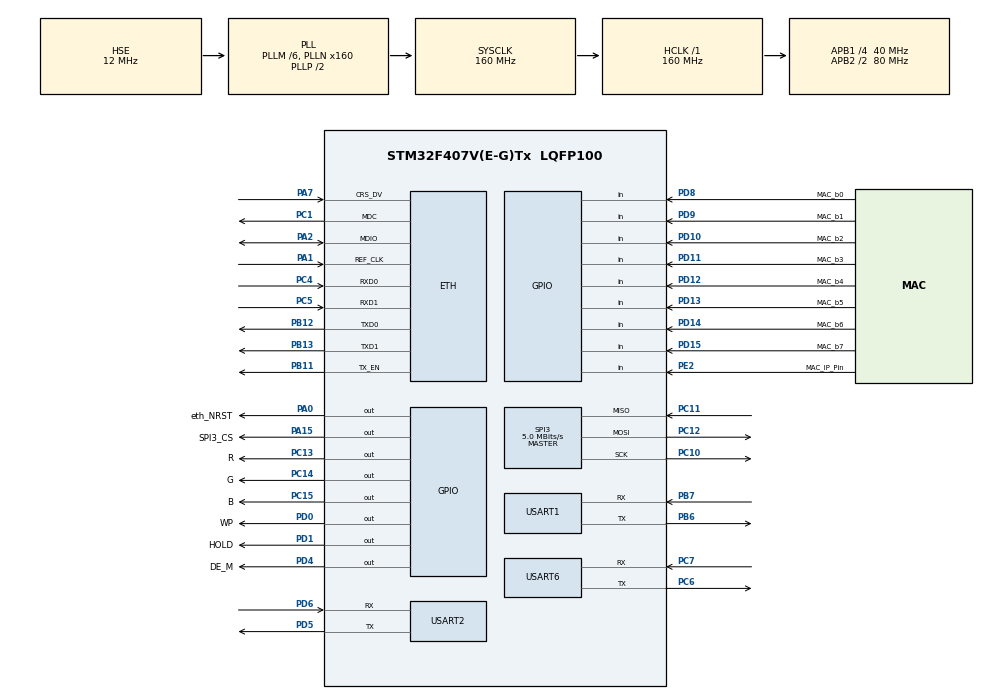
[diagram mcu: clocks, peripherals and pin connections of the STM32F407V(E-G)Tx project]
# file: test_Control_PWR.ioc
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Dma.Request0=USART1_RX
Dma.Request1=USART6_RX
Dma.Request2=USART6_TX
Dma.USART1_RX.0.Direction=DMA_PERIPH_TO_MEMORY
Dma.USART1_RX.0.FIFOMode=DMA_FIFOMODE_DISABLE
Dma.USART1_RX.0.Instance=DMA2_Stream2
Dma.USART1_RX.0.MemDataAlignment=DMA_MDATAALIGN_HALFWORD
Dma.USART1_RX.0.MemInc=DMA_MINC_ENABLE
Dma.USART1_RX.0.Mode=DMA_NORMAL
Dma.USART1_RX.0.PeriphDataAlignment=DMA_PDATAALIGN_HALFWORD
Dma.USART1_RX.0.PeriphInc=DMA_PINC_DISABLE
Dma.USART1_RX.0.Priority=DMA_PRIORITY_LOW
Dma.USART6_RX.1.Direction=DMA_PERIPH_TO_MEMORY
Dma.USART6_RX.1.FIFOMode=DMA_FIFOMODE_DISABLE
Dma.USART6_RX.1.Instance=DMA2_Stream1
Dma.USART6_RX.1.MemDataAlignment=DMA_MDATAALIGN_BYTE
Dma.USART6_RX.1.MemInc=DMA_MINC_ENABLE
Dma.USART6_RX.1.Mode=DMA_CIRCULAR
Dma.USART6_RX.1.PeriphDataAlignment=DMA_PDATAALIGN_BYTE
Dma.USART6_RX.1.PeriphInc=DMA_PINC_DISABLE
Dma.USART6_RX.1.Priority=DMA_PRIORITY_LOW
Dma.USART6_TX.2.Direction=DMA_MEMORY_TO_PERIPH
Dma.USART6_TX.2.FIFOMode=DMA_FIFOMODE_DISABLE
Dma.USART6_TX.2.Instance=DMA2_Stream6
Dma.USART6_TX.2.MemDataAlignment=DMA_MDATAALIGN_BYTE
Dma.USART6_TX.2.MemInc=DMA_MINC_ENABLE
Dma.USART6_TX.2.Mode=DMA_NORMAL
Dma.USART6_TX.2.PeriphDataAlignment=DMA_PDATAALIGN_BYTE
Dma.USART6_TX.2.PeriphInc=DMA_PINC_DISABLE
Dma.USART6_TX.2.Priority=DMA_PRIORITY_LOW
ETH.MACAddr=44\:84\:23\:84\:44\:76
ETH.MediaInterface=HAL_ETH_RMII_MODE
FREERTOS.BinarySemaphores01=ADC_end,Dynamic,NULL;ADC_end2,Dynamic,NULL;Resive_USART,Dynamic,NULL
FREERTOS.Queues01=rxDataUART2,16,uint8_t,0,Dynamic,NULL,NULL
FREERTOS.Tasks01=MainTask,0,256,mainTask,Default,NULL,Dynamic,NULL,NULL;LED,0,128,led,Default,NULL,Dynamic,NULL,NULL;ethTas,0,768,eth_Task,Default,NULL,Dynamic,NULL,NULL;MBRTUTask,0,256,mbrtuTask,Default,NULL,Dynamic,NULL,NULL;MBETHTask,0,512,mbethTask,Default,NULL,Dynamic,NULL,NULL;uart_task,0,1024,uart_Task,Default,NULL,Dynamic,NULL,NULL;loggerTask,0,128,LoggerTask,Default,NULL,Dynamic,NULL,NULL
FREERTOS.configTOTAL_HEAP_SIZE=0x8000
FREERTOS.configUSE_NEWLIB_REENTRANT=1
LWIP.BSP.number=1
LWIP.LWIP_DHCP=0
LWIP.LWIP_DNS=1
LWIP.LWIP_NETIF_EXT_STATUS_CALLBACK=1
LWIP.LWIP_NETIF_STATUS_CALLBACK=1
LWIP.Version=v2.1.2_Cube
LWIP0.BSP.STBoard=false
LWIP0.BSP.api=BSP_COMPONENT_DRIVER
LWIP0.BSP.component=LAN8742
LWIP0.BSP.instance=LAN8742
LWIP0.BSP.name=Driver_PHY
LWIP0.BSP.semaphore=S_LAN8742
LWIP0.BSP.solution=LAN8742
Mcu.Family=STM32F4
Mcu.Name=STM32F407V(E-G)Tx
Mcu.Package=LQFP100
NVIC.DMA2_Stream1_IRQn=true\:5\:0\:false\:false\:true\:true\:false\:true\:true
NVIC.DMA2_Stream2_IRQn=true\:5\:0\:false\:false\:true\:true\:false\:true\:true
NVIC.DMA2_Stream6_IRQn=true\:5\:0\:false\:false\:true\:true\:false\:true\:true
NVIC.ETH_IRQn=true\:5\:0\:false\:false\:true\:true\:false\:true\:true
NVIC.PriorityGroup=NVIC_PRIORITYGROUP_4
NVIC.TIM7_IRQn=true\:15\:0\:false\:false\:true\:false\:false\:true\:true
NVIC.TimeBase=TIM7_IRQn
NVIC.TimeBaseIP=TIM7
NVIC.USART2_IRQn=true\:5\:0\:false\:false\:true\:true\:true\:true\:true
NVIC.USART6_IRQn=true\:5\:0\:false\:false\:true\:true\:true\:true\:true
PA0-WKUP.GPIO_Label=eth_NRST
PA0-WKUP.Signal=GPIO_Output
PA1.Mode=RMII
PA1.Signal=ETH_REF_CLK
PA13.Mode=Serial_Wire
PA13.Signal=SYS_JTMS-SWDIO
PA14.Mode=Serial_Wire
PA14.Signal=SYS_JTCK-SWCLK
PA15.GPIO_Label=SPI3_CS
PA15.Signal=GPIO_Output
PA2.Mode=RMII
PA2.Signal=ETH_MDIO
PA3.Signal=ADCx_IN3
PA4.Signal=ADCx_IN4
PA7.Mode=RMII
PA7.Signal=ETH_CRS_DV
PB11.Mode=RMII
PB11.Signal=ETH_TX_EN
PB12.Mode=RMII
PB12.Signal=ETH_TXD0
PB13.Mode=RMII
PB13.Signal=ETH_TXD1
PB6.Mode=Multiprocessor_communication
PB6.Signal=USART1_TX
PB7.Mode=Multiprocessor_communication
PB7.Signal=USART1_RX
PC1.Mode=RMII
PC1.Signal=ETH_MDC
PC10.Mode=Full_Duplex_Master
PC10.Signal=SPI3_SCK
PC11.Mode=Full_Duplex_Master
PC11.Signal=SPI3_MISO
PC12.Mode=Full_Duplex_Master
PC12.Signal=SPI3_MOSI
PC13-ANTI_TAMP.GPIO_Label=R
PC13-ANTI_TAMP.Signal=GPIO_Output
PC14-OSC32_IN.GPIO_Label=G
PC14-OSC32_IN.Signal=GPIO_Output
PC15-OSC32_OUT.GPIO_Label=B
PC15-OSC32_OUT.Signal=GPIO_Output
PC4.Mode=RMII
PC4.Signal=ETH_RXD0
PC5.Mode=RMII
PC5.Signal=ETH_RXD1
PC6.Mode=Asynchronous
PC6.Signal=USART6_TX
PC7.Mode=Asynchronous
PC7.Signal=USART6_RX
PD0.GPIO_Label=WP
PD0.Signal=GPIO_Output
PD1.GPIO_Label=HOLD
PD1.Signal=GPIO_Output
PD10.GPIO_Label=MAC_b2
PD10.GPIO_PuPd=GPIO_PULLDOWN
PD10.Signal=GPIO_Input
PD11.GPIO_Label=MAC_b3
PD11.GPIO_PuPd=GPIO_PULLDOWN
PD11.Signal=GPIO_Input
PD12.GPIO_Label=MAC_b4
PD12.GPIO_PuPd=GPIO_PULLDOWN
PD12.Signal=GPIO_Input
PD13.GPIO_Label=MAC_b5
PD13.GPIO_PuPd=GPIO_PULLDOWN
PD13.Signal=GPIO_Input
PD14.GPIO_Label=MAC_b6
PD14.GPIO_PuPd=GPIO_PULLDOWN
PD14.Signal=GPIO_Input
PD15.GPIO_Label=MAC_b7
PD15.GPIO_PuPd=GPIO_PULLDOWN
PD15.Signal=GPIO_Input
PD4.GPIO_Label=DE_M
PD4.Signal=GPIO_Output
PD5.Mode=Asynchronous
PD5.Signal=USART2_TX
PD6.Mode=Asynchronous
PD6.Signal=USART2_RX
PD8.GPIO_Label=MAC_b0
PD8.GPIO_PuPd=GPIO_PULLDOWN
PD8.Signal=GPIO_Input
PD9.GPIO_Label=MAC_b1
PD9.GPIO_PuPd=GPIO_PULLDOWN
PD9.Signal=GPIO_Input
PE2.GPIO_Label=MAC_IP_Pin
PE2.GPIO_PuPd=GPIO_PULLDOWN
PE2.Signal=GPIO_Input
PH0-OSC_IN.Mode=HSE-External-Oscillator
PH0-OSC_IN.Signal=RCC_OSC_IN
PH1-OSC_OUT.Mode=HSE-External-Oscillator
PH1-OSC_OUT.Signal=RCC_OSC_OUT
ProjectManager.HeapSize=0x6000
ProjectManager.StackSize=0x4000
ProjectManager.TargetToolchain=STM32CubeIDE
RCC.48MHZClocksFreq_Value=80000000
RCC.AHBFreq_Value=160000000
RCC.APB1CLKDivider=RCC_HCLK_DIV4
RCC.APB1Freq_Value=40000000
RCC.APB1TimFreq_Value=80000000
RCC.APB2CLKDivider=RCC_HCLK_DIV2
RCC.APB2Freq_Value=80000000
RCC.APB2TimFreq_Value=160000000
RCC.CortexFreq_Value=160000000
RCC.EnbaleCSS=true
RCC.HCLKFreq_Value=160000000
RCC.HSE_VALUE=12000000
RCC.HSI_VALUE=16000000
RCC.LSE_VALUE=32768
RCC.PLLM=6
RCC.PLLN=160
RCC.PLLSourceVirtual=RCC_PLLSOURCE_HSE
RCC.RCC_MCO1Source=RCC_MCO1SOURCE_HSE
RCC.RCC_MCODiv1=RCC_MCODIV_4
RCC.SYSCLKFreq_VALUE=160000000
RCC.SYSCLKSource=RCC_SYSCLKSOURCE_PLLCLK
RCC.VCOOutputFreq_Value=320000000
SH.ADCx_IN3.0=ADC1_IN3
SH.ADCx_IN4.0=ADC2_IN4
SPI3.BaudRatePrescaler=SPI_BAUDRATEPRESCALER_8
SPI3.CalculateBaudRate=5.0 MBits/s
SPI3.Direction=SPI_DIRECTION_2LINES
SPI3.Mode=SPI_MODE_MASTER
SPI3.VirtualType=VM_MASTER
USART1.VirtualMode=VM_ASYNC
USART1.WakeUpMethode=UART_WAKEUPMETHOD_ADDRESSMARK
USART1.WordLength=WORDLENGTH_9B
USART2.VirtualMode=VM_ASYNC
USART6.VirtualMode=VM_ASYNC
VP_FREERTOS_VS_CMSIS_V1.Mode=CMSIS_V1
VP_LWIP_VS_Enabled.Mode=Enabled
VP_SYS_VS_tim7.Mode=TIM7
board=custom

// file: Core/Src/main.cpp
/* USER CODE BEGIN Header */
/**
 ******************************************************************************
 * @file           : main.c
 * @brief          : Main program body
 ******************************************************************************
 * @attention
 *
 * Copyright (c) 2022 STMicroelectronics.
 * All rights reserved.
 *
 * This software is licensed under terms that can be found in the LICENSE file
 * in the root directory of this software component.
 * If no LICENSE file comes with this software, it is provided AS-IS.
 *
 ******************************************************************************
 */
/* USER CODE END Header */
#include "main.h"
#include "cmsis_os.h"
#include "dma.h"
#include "lwip.h"
#include "spi.h"
#include "usart.h"
#include "gpio.h"

/* USER CODE BEGIN Includes */
//#include "flash_spi.h"
#include "Delay_us_DWT.h"
#include "LED.h"
#include "flash_spi.h"

#include "cmsis_os.h"
/* USER CODE END Includes */

/* USER CODE BEGIN PTD */
// Размещение метаданных по фиксированному адресу с помощью атрибута section
__attribute__((section(".metadata")))
const meta_t firmware_metadata = {
    .key_start = METADATA_KEY,
    .version = FIRMWARE_VERSION,
    .name_proj = FIRMWARE_NAME,
    .reserved = 0
};
/* USER CODE END PTD */

/* USER CODE BEGIN PV */
uint8_t ucHeap[ configTOTAL_HEAP_SIZE ] __attribute__((section(".ccmram"))) = {0};

chName_t NameCH[MAX_CH_NAME];

uint32_t count_tic = 0; //для замеров времени выполнения кода

led LED_IPadr;
led LED_error;
led LED_OSstart;

flash mem_spi;
//for i2c
//g_stat_t I2C_net[45];

bool resetSettings = false;
timing_info_t mb_timing;

// for SPI Flash
pins_spi_t ChipSelect = { SPI3_CS_GPIO_Port, SPI3_CS_Pin };
pins_spi_t WriteProtect = { WP_GPIO_Port, WP_Pin };
pins_spi_t Hold = { HOLD_GPIO_Port, HOLD_Pin };

settings_t settings = { 0, 0x0E };

// Глобальный экземпляр логгера
UartLogger_t logger;

// Локальный буфер для DMA передачи
char txBuffer[MAX_MESSAGE_SIZE];
// Пул сообщений и буфер для него
LogMessage_t messagePool[QUEUE_SIZE];
uint8_t messagePoolUsed[QUEUE_SIZE];
osMutexId poolMutexHandle;

uint8_t message_rx[message_RX_LENGTH];
uint8_t UART_debug_rx[UART6_RX_LENGTH];
uint16_t indx_message_rx = 0;
uint16_t indx_UART2_rx = 0;
uint16_t Size_message = 0;
uint16_t Start_index = 0;
extern osMessageQId rxDataUART2Handle;

// обмен данными с другими платами
bool rx_end = 1;

//TCP for ModBUS
extern uint8_t         rtu_data[256];
extern uint8_t 		response[260];
extern uint8_t 		Modbut_to_TCP[260];
extern uint16_t		SizeInModBus;
extern struct netconn 	connectionForModBUS , newconnectionForModBUS;
extern struct netconn 	*connMB, *newconnMB; //contains info about connection inc. type, port, buf pointers etc.

extern osSemaphoreId Resive_USARTHandle;
/* USER CODE END PV */

void SystemClock_Config(void);
void MX_FREERTOS_Init(void);
/* USER CODE BEGIN PFP */
uint8_t ReadStraps();
void finishedBlink();
void timoutBlink();

/* USER CODE END PFP */

/* USER CODE BEGIN 0 */
//uint8_t ucHeap[ configTOTAL_HEAP_SIZE] __attribute__((section(".ccmram")));

/* USER CODE END 0 */

int main(void)
{

  /* USER CODE BEGIN 1 */
	/* Настройка вектора прерываний на адрес приложения */
	SCB->VTOR = FLASH_BASE | 0x10000; /* 0x08010000 */
	__enable_irq();
  /* USER CODE END 1 */

  /* MCU Configuration--------------------------------------------------------*/

  /* Reset of all peripherals, Initializes the Flash interface and the Systick. */
  HAL_Init();

  /* Configure the system clock */
  SystemClock_Config();

  /* Initialize all configured peripherals */
  MX_GPIO_Init();
  MX_DMA_Init();
  MX_SPI3_Init();
  MX_USART1_UART_Init();
  MX_USART2_UART_Init();
  MX_USART6_UART_Init();
  /* USER CODE BEGIN 2 */

	mem_spi.Init(&hspi3, 0, ChipSelect, WriteProtect, Hold, false);
	//HAL_Delay(100);
	mem_spi.Read(&settings);

	HAL_GPIO_WritePin(R_GPIO_Port, R_Pin, GPIO_PIN_SET); // PC15 VD4
	HAL_GPIO_WritePin(B_GPIO_Port, B_Pin, GPIO_PIN_SET); // PC13 VD2
	HAL_GPIO_WritePin(G_GPIO_Port, G_Pin, GPIO_PIN_SET); // PC14 VD3

	uint8_t endMAC = 0, IP = 100;
	// работаем с настройками из флешки
	HAL_GPIO_WritePin(eth_NRST_GPIO_Port, eth_NRST_Pin, GPIO_PIN_SET);

	//HAL_GPIO_WritePin(HOLD_GPIO_Port, HOLD_Pin, GPIO_PIN_SET);
	//HAL_GPIO_WritePin(WP_GPIO_Port, WP_Pin, GPIO_PIN_SET);

	//mem_spi.Init(&hspi3, 0, ChipSelect, WriteProtect, Hold, false);
	//mem_spi.Read(&settings);

	// если установлен джампер set
	// заходим в режим настройки
	bool StartSettings = false;
	/*
	for (int var = 0; var < 5; ++var) {

		if (HAL_GPIO_ReadPin(MAC_IP_Pin_GPIO_Port, MAC_IP_Pin_Pin)) {
			StartSettings = true;
		} else {
			StartSettings = false;
			break;
		}

		HAL_Delay(30);
	}*/

	//режим настройки
	if (StartSettings) {
		StartSettings = false;
		HAL_GPIO_WritePin(G_GPIO_Port, G_Pin, GPIO_PIN_RESET); // PC14 VD3

		endMAC = ReadStraps();
		HAL_Delay(300);
		HAL_GPIO_WritePin(R_GPIO_Port, R_Pin, GPIO_PIN_RESET); // PC13 VD2

		// ждем снятия джампера или таймаута
		int time;
		bool Settings;
		for (time = 0; time < 600; ++time) {

			if (HAL_GPIO_ReadPin(MAC_IP_Pin_GPIO_Port, MAC_IP_Pin_Pin)) {
				Settings = true;
			} else {
				Settings = false;
				break;
			}

			HAL_Delay(100);
		}

		if (!Settings) { // if pin settings is 0
			IP = ReadStraps();
			HAL_Delay(300);
			HAL_GPIO_WritePin(B_GPIO_Port, B_Pin, GPIO_PIN_RESET); // PC15 VD4

			if ((settings.version != 0) | (settings.version != 0xFF)) { // если считанные настройки не пусты то перезаписываем только изменения

			    bool settingsChanged = false;

			    if (endMAC != 0xFF) {
			        settings.MAC[5] = endMAC;
			        settingsChanged = true;
			    }

			    if (IP != 0xFF) {
			        settings.saveIP.ip[3] = IP;
			        settingsChanged = true;
			    }

			    if (settingsChanged) {
			    	mem_spi.Write(settings);
			        STM_LOG(LOG_OK " Новые MAC/IP сохранены");

			    }

				finishedBlink();

				// and reset system
				HAL_Delay(500);
				NVIC_SystemReset();
			} else {
				resetSettings = true; // else reset all settings
			}
		} else {

			timoutBlink();
			// and reset system
			HAL_Delay(1000);
			NVIC_SystemReset();
		}

	}

	if ((settings.version == 0) | (settings.version == 0xFF) | resetSettings) {
		STM_LOG("Reset settings");

		settings.isON_from_settings = false;
		settings.IP_end_from_settings = 1;

		settings.DHCPset = true;
		settings.devices_depth = 0;

		settings.saveIP.ip[0] = 192;
		settings.saveIP.ip[1] = 168;
		settings.saveIP.ip[2] = 1;
		settings.saveIP.ip[3] = IP;

		settings.saveIP.mask[0] = 255;
		settings.saveIP.mask[1] = 255;
		settings.saveIP.mask[2] = 255;
		settings.saveIP.mask[3] = 0;

		settings.saveIP.gateway[0] = 192;
		settings.saveIP.gateway[1] = 168;
		settings.saveIP.gateway[2] = 1;
		settings.saveIP.gateway[3] = 1;

		settings.MAC[0] = 0x44;
		settings.MAC[1] = 0x84;
		settings.MAC[2] = 0x23;
		settings.MAC[3] = 0x84;
		settings.MAC[4] = 0x44;
		settings.MAC[5] = endMAC;

		settings.version = CURENT_VERSION;

		mem_spi.Write(settings);
		mem_spi.Read(&settings);
		finishedBlink();
	}

	// настройка первоночального состояния канналов
	if (settings.isON_from_settings) { // если состояние нужно взять из настроек
		// ничего не делаем состояния уже загруженны
	} else {

		//иначе выключаем все канналы

	}

	// reset link
	for (int var = 0; var <= MAX_CH_NAME; ++var) {
		NameCH[var].dev = NULL;
		NameCH[var].Channel_number = 0xff;
	}

	// linking the channel name with the device and channel number
	for (int var = 0; var <= MAX_ADR_DEV; ++var) {
		// check device address
		if ((settings.devices[var].Addr >= START_ADR_I2C)
				&& (settings.devices[var].Addr <= (START_ADR_I2C + MAX_ADR_DEV))) {
			for (int i = 0; i < 3; ++i) {
				NameCH[settings.devices[var].ch[i].Name_ch].dev =
						&settings.devices[var];
				NameCH[settings.devices[var].ch[i].Name_ch].Channel_number = i;
			}
		}
	}

	mem_spi.SetUsedInOS(true); // switch to use in OS
  /* USER CODE END 2 */

  /* Call init function for freertos objects (in cmsis_os2.c) */
  MX_FREERTOS_Init();

  /* Start scheduler */
  osKernelStart();

  /* We should never get here as control is now taken by the scheduler */

  /* Infinite loop */
	while (1) {

	}
}

void SystemClock_Config(void)
{
  RCC_OscInitTypeDef RCC_OscInitStruct = {0};
  RCC_ClkInitTypeDef RCC_ClkInitStruct = {0};

  /** Configure the main internal regulator output voltage
  */
  __HAL_RCC_PWR_CLK_ENABLE();
  __HAL_PWR_VOLTAGESCALING_CONFIG(PWR_REGULATOR_VOLTAGE_SCALE1);

  /** Initializes the RCC Oscillators according to the specified parameters
  * in the RCC_OscInitTypeDef structure.
  */
  RCC_OscInitStruct.OscillatorType = RCC_OSCILLATORTYPE_HSE;
  RCC_OscInitStruct.HSEState = RCC_HSE_ON;
  RCC_OscInitStruct.PLL.PLLState = RCC_PLL_ON;
  RCC_OscInitStruct.PLL.PLLSource = RCC_PLLSOURCE_HSE;
  RCC_OscInitStruct.PLL.PLLM = 6;
  RCC_OscInitStruct.PLL.PLLN = 160;
  RCC_OscInitStruct.PLL.PLLP = RCC_PLLP_DIV2;
  RCC_OscInitStruct.PLL.PLLQ = 4;
  if (HAL_RCC_OscConfig(&RCC_OscInitStruct) != HAL_OK)
  {
    Error_Handler();
  }

  /** Initializes the CPU, AHB and APB buses clocks
  */
  RCC_ClkInitStruct.ClockType = RCC_CLOCKTYPE_HCLK|RCC_CLOCKTYPE_SYSCLK
                              |RCC_CLOCKTYPE_PCLK1|RCC_CLOCKTYPE_PCLK2;
  RCC_ClkInitStruct.SYSCLKSource = RCC_SYSCLKSOURCE_PLLCLK;
  RCC_ClkInitStruct.AHBCLKDivider = RCC_SYSCLK_DIV1;
  RCC_ClkInitStruct.APB1CLKDivider = RCC_HCLK_DIV4;
  RCC_ClkInitStruct.APB2CLKDivider = RCC_HCLK_DIV2;

  if (HAL_RCC_ClockConfig(&RCC_ClkInitStruct, FLASH_LATENCY_5) != HAL_OK)
  {
    Error_Handler();
  }

  /** Enables the Clock Security System
  */
  HAL_RCC_EnableCSS();
}

/* USER CODE BEGIN 4 */

/*
// Инициализация логгера
void Logger_Init(UART_HandleTypeDef* huart) {
    // Сохраняем указатель на UART
    logger.huart = huart;
    logger.isTransmitting = 0;
    logger.txBuffer = txBuffer;
    logger.started = 1;

    // Очищаем пул сообщений
    memset(messagePoolUsed, 0, sizeof(messagePoolUsed));

    // Создаем мьютекс для пула
    osMutexDef(poolMutex);
    poolMutexHandle = osMutexCreate(osMutex(poolMutex));

    // Создаем очередь сообщений (теперь храним только индексы)
    osMessageQDef(logQueue, QUEUE_SIZE, uint32_t);
    logger.messageQueue = osMessageCreate(osMessageQ(logQueue), NULL);
}

// Обработка сообщений и отправка через UART
void Logger_Process(void) {
    if (!logger.isTransmitting) {
        osEvent event = osMessageGet(logger.messageQueue, 0); // Неблокирующее получение

        if (event.status == osEventMessage) {
            uint32_t msgIndex = event.value.v;
            if(msgIndex < QUEUE_SIZE) {
                LogMessage_t* msg = &messagePool[msgIndex];

                // Проверка валидности сообщения
                if(msg->length > 0 && msg->length < MAX_MESSAGE_SIZE) {
                    // Копируем сообщение в буфер отправки
                    memcpy(logger.txBuffer, msg->data, msg->length);

                    // Освобождаем слот в пуле
                    uint32_t primask_bit;
                    primask_bit = __get_PRIMASK();
                    __disable_irq();
                    messagePoolUsed[msgIndex] = 0;
                    if (!primask_bit) {
                        __enable_irq();
                    }

                    // Начинаем передачу
                    logger.isTransmitting = 1;

                    // Проверяем состояние DMA перед отправкой
                    if(huart2.hdmatx->State == HAL_DMA_STATE_READY) {
                        HAL_StatusTypeDef status = HAL_UART_Transmit_DMA(logger.huart, (uint8_t*)logger.txBuffer, msg->length);
                        if(status != HAL_OK) {
                            // Если DMA не готов, используем обычную передачу
                            HAL_UART_Transmit(logger.huart, (uint8_t*)logger.txBuffer, msg->length, 100);
                            logger.isTransmitting = 0;
                        }
                    } else {
                        // DMA занят, используем обычную передачу
                        HAL_UART_Transmit(logger.huart, (uint8_t*)logger.txBuffer, msg->length, 100);
                        logger.isTransmitting = 0;
                    }
                } else {
                    // Некорректный размер сообщения - просто освобождаем слот
                    uint32_t primask_bit;
                    primask_bit = __get_PRIMASK();
                    __disable_irq();
                    messagePoolUsed[msgIndex] = 0;
                    if (!primask_bit) {
                        __enable_irq();
                    }
                }
            }
        }
    }
}

// Callback завершения передачи
void Logger_TxCpltCallback(void) {
    logger.isTransmitting = 0;
}

// Функция логирования (может вызываться из прерывания или потока)
void Logger_Log(const char* format, ...) {
    if(!logger.started) return;
    if (!format) return;

    int slot = -1;

    // Безопасное получение слота с учетом контекста (прерывание или нет)
    if(isInInterrupt()) {
        // В прерывании - атомарно захватываем слот
        // Используем атомарный подход без мьютекса (мьютексы недопустимы в прерываниях)
        for(int i = 0; i < QUEUE_SIZE; i++) {
            if(messagePoolUsed[i] == 0) {
                // Попытка атомарно захватить слот
                uint32_t primask_bit;
                primask_bit = __get_PRIMASK();
                __disable_irq();
                if(messagePoolUsed[i] == 0) {
                    messagePoolUsed[i] = 1;
                    slot = i;
                }
                if (!primask_bit) {
                    __enable_irq();
                }
                if(slot >= 0) break;
            }
        }
    } else {
        // В обычном коде используем мьютекс
        osMutexWait(poolMutexHandle, osWaitForever);
        slot = getFreeMessageSlot();
        osMutexRelease(poolMutexHandle);
    }

    if(slot < 0) return; // Нет свободных слотов

    LogMessage_t* msg = &messagePool[slot];
    va_list args;

    va_start(args, format);
    int length = vsnprintf(msg->data, MAX_MESSAGE_SIZE-3, format, args);
    va_end(args);

    if (length <= 0) {
        // Атомарное освобождение слота
        uint32_t primask_bit;
        primask_bit = __get_PRIMASK();
        __disable_irq();
        messagePoolUsed[slot] = 0;
        if (!primask_bit) {
            __enable_irq();
        }
        return;
    }

    // Добавляем '\r' и нулевой символ для завершения отправки

    msg->data[length] = '\r';
    msg->data[length + 1] = '\x03';
    msg->data[length + 2] = '\x04';
    msg->length = length + 3;

    // Помещаем индекс сообщения в очередь
    osStatus status = osMessagePut(logger.messageQueue, slot, 10);
    if(status != osOK) {
        // Атомарное освобождение слота при ошибке
        uint32_t primask_bit;
        primask_bit = __get_PRIMASK();
        __disable_irq();
        messagePoolUsed[slot] = 0;
        if (!primask_bit) {
            __enable_irq();
        }
    }
}

// Функция логирования (может вызываться из прерывания или потока)
void Logger_Log_xx(const char* format, ...) {
    if(!logger.started) return;
    if (!format) return;

    int slot = -1;

    // Безопасное получение слота с учетом контекста (прерывание или нет)
    if(isInInterrupt()) {
        // В прерывании - атомарно захватываем слот
        // Используем атомарный подход без мьютекса (мьютексы недопустимы в прерываниях)
        for(int i = 0; i < QUEUE_SIZE; i++) {
            if(messagePoolUsed[i] == 0) {
                // Попытка атомарно захватить слот
                uint32_t primask_bit;
                primask_bit = __get_PRIMASK();
                __disable_irq();
                if(messagePoolUsed[i] == 0) {
                    messagePoolUsed[i] = 1;
                    slot = i;
                }
                if (!primask_bit) {
                    __enable_irq();
                }
                if(slot >= 0) break;
            }
        }
    } else {
        // В обычном коде используем мьютекс
        osMutexWait(poolMutexHandle, osWaitForever);
        slot = getFreeMessageSlot();
        osMutexRelease(poolMutexHandle);
    }

    if(slot < 0) return; // Нет свободных слотов

    LogMessage_t* msg = &messagePool[slot];
    va_list args;

    va_start(args, format);
    int length = vsnprintf(msg->data, MAX_MESSAGE_SIZE, format, args);
    va_end(args);

    if (length <= 0) {
        // Атомарное освобождение слота
        uint32_t primask_bit;
        primask_bit = __get_PRIMASK();
        __disable_irq();
        messagePoolUsed[slot] = 0;
        if (!primask_bit) {
            __enable_irq();
        }
        return;
    }

    msg->length = length;
    // Помещаем индекс сообщения в очередь
    osStatus status = osMessagePut(logger.messageQueue, slot, 10);
    if(status != osOK) {
        // Атомарное освобождение слота при ошибке
        uint32_t primask_bit;
        primask_bit = __get_PRIMASK();
        __disable_irq();
        messagePoolUsed[slot] = 0;
        if (!primask_bit) {
            __enable_irq();
        }
    }
}
*/

uint8_t ReadStraps() {
	uint8_t tempStraps;

	//Bit0
	if (HAL_GPIO_ReadPin(MAC_b0_GPIO_Port, MAC_b0_Pin))
		SET_BIT(tempStraps, 1 << 0);
	else
		CLEAR_BIT(tempStraps, 1 << 0);
	//Bit1
	if (HAL_GPIO_ReadPin(MAC_b1_GPIO_Port, MAC_b1_Pin))
		SET_BIT(tempStraps, 1 << 1);
	else
		CLEAR_BIT(tempStraps, 1 << 1);
	//Bit2
	if (HAL_GPIO_ReadPin(MAC_b2_GPIO_Port, MAC_b2_Pin))
		SET_BIT(tempStraps, 1 << 2);
	else
		CLEAR_BIT(tempStraps, 1 << 2);
	//Bit3
	if (HAL_GPIO_ReadPin(MAC_b3_GPIO_Port, MAC_b3_Pin))
		SET_BIT(tempStraps, 1 << 3);
	else
		CLEAR_BIT(tempStraps, 1 << 3);
	//Bit4
	if (HAL_GPIO_ReadPin(MAC_b4_GPIO_Port, MAC_b4_Pin))
		SET_BIT(tempStraps, 1 << 4);
	else
		CLEAR_BIT(tempStraps, 1 << 4);
	//Bit5
	if (HAL_GPIO_ReadPin(MAC_b5_GPIO_Port, MAC_b5_Pin))
		SET_BIT(tempStraps, 1 << 5);
	else
		CLEAR_BIT(tempStraps, 1 << 5);
	//Bit6
	if (HAL_GPIO_ReadPin(MAC_b6_GPIO_Port, MAC_b6_Pin))
		SET_BIT(tempStraps, 1 << 6);
	else
		CLEAR_BIT(tempStraps, 1 << 6);
	//Bit7
	if (HAL_GPIO_ReadPin(MAC_b7_GPIO_Port, MAC_b7_Pin))
		SET_BIT(tempStraps, 1 << 7);
	else
		CLEAR_BIT(tempStraps, 1 << 7);

	return tempStraps;
}

void finishedBlink() {
#define  timeBetween 300

	// finished blink
	HAL_GPIO_WritePin(B_GPIO_Port, B_Pin, GPIO_PIN_SET); // PC15 VD4
	HAL_GPIO_WritePin(R_GPIO_Port, R_Pin, GPIO_PIN_SET); // PC13 VD2
	HAL_GPIO_WritePin(G_GPIO_Port, G_Pin, GPIO_PIN_SET); // PC14 VD3

	for (int var = 0; var < 5; ++var) {
		HAL_GPIO_WritePin(G_GPIO_Port, G_Pin, GPIO_PIN_RESET); // PC14 VD3
		HAL_Delay(timeBetween);
		HAL_GPIO_WritePin(G_GPIO_Port, G_Pin, GPIO_PIN_SET); // PC14 VD3
		HAL_GPIO_WritePin(R_GPIO_Port, R_Pin, GPIO_PIN_RESET); // PC13 VD2
		HAL_Delay(timeBetween);
		HAL_GPIO_WritePin(R_GPIO_Port, R_Pin, GPIO_PIN_SET); // PC13 VD2
		HAL_GPIO_WritePin(B_GPIO_Port, B_Pin, GPIO_PIN_RESET); // PC15 VD4
		HAL_Delay(timeBetween);
		HAL_GPIO_WritePin(B_GPIO_Port, B_Pin, GPIO_PIN_SET); // PC15 VD4

	}

	HAL_GPIO_WritePin(B_GPIO_Port, B_Pin, GPIO_PIN_SET); // PC15 VD4
	HAL_GPIO_WritePin(R_GPIO_Port, R_Pin, GPIO_PIN_SET); // PC13 VD2
	HAL_GPIO_WritePin(G_GPIO_Port, G_Pin, GPIO_PIN_SET); // PC14 VD3
}

void timoutBlink() {
	// timOut plink  all
	HAL_GPIO_WritePin(B_GPIO_Port, B_Pin, GPIO_PIN_RESET); // PC15 VD4
	HAL_GPIO_WritePin(R_GPIO_Port, R_Pin, GPIO_PIN_RESET); // PC13 VD2
	HAL_GPIO_WritePin(G_GPIO_Port, G_Pin, GPIO_PIN_RESET); // PC14 VD3
	for (int var = 0; var < 5; ++var) {
		HAL_GPIO_TogglePin(B_GPIO_Port, B_Pin); // PC15 VD4
		HAL_GPIO_TogglePin(R_GPIO_Port, R_Pin); // PC13 VD2
		HAL_GPIO_TogglePin(G_GPIO_Port, G_Pin); // PC14 VD3
		HAL_Delay(800);
	}
}

/*
 * функция установки нового устройства
 * Addr - I2C адрес
 * CH	- один из трех канвлов
 * Name	- глобальное имя от 1 до 45
 */
int set_i2c_dev(uint8_t Addr, uint8_t CH, uint8_t Name) {
	uint8_t ret = 0, dev = (Addr - START_ADR_I2C);

	// проверка входных данных
	if (CH > 2) {
		return 1;
	}
	if ((Name > MAX_CH_NAME)) {
		return 2;
	}
	//если вышли за диапазон
	if ((Addr < START_ADR_I2C) || (Addr > (START_ADR_I2C + MAX_ADR_DEV))) {
		return 3;
	}

	//mem_spi.W25qxx_EraseSector(0);
	NameCH[Name].dev = &settings.devices[dev];
	NameCH[Name].Channel_number = CH;

	// записываем данные в память и сохраняем на флешку
	settings.devices[dev].Addr = Addr;
	settings.devices[dev].AddrFromDev = 0;
	settings.devices[dev].ch[CH].Name_ch = Name;
	settings.devices[dev].ERR_counter = 0;
	settings.devices[dev].last_ERR = 0;
	settings.devices[dev].TypePCB = PCBType::NoInit;

	settings.devices[dev].ch[CH].Current = 0;
	settings.devices[dev].ch[CH].IsOn = 0;
	settings.devices[dev].ch[CH].On_off = 0;
	settings.devices[dev].ch[CH].PWM = 0;
	settings.devices[dev].ch[CH].PWM_out = 0;
	//mem_spi.Write(settings);

	return ret;
}

/*
 * функция удаления устройства
 * Addr - I2C адрес
 * CH	- один из трех канвлов
 * Name	- глобальное имя от 1 до 45
 */
int del_Name_dev(uint8_t Name) {
	uint8_t ret = 0;

	if ((Name > 44)) {
		return -2;
	}

	//mem_spi.W25qxx_EraseSector(0);
	// записываем данные в память и сохраняем на флешку
	//NameCH[Name].dev = &settings.devices[dev];
	uint8_t CH = NameCH[Name].Channel_number;

	// записываем данные в память и сохраняем на флешку
	NameCH[Name].dev->Addr = 0xff;
	NameCH[Name].dev->AddrFromDev = 0xff;
	NameCH[Name].dev->ch[CH].Name_ch = 0xff;
	NameCH[Name].dev->ERR_counter = 0xffffffff;
	NameCH[Name].dev->last_ERR = 0xffffffff;
	NameCH[Name].dev->TypePCB = PCBType::NoInit;

	NameCH[Name].dev->ch[CH].Current = 0xffff;
	NameCH[Name].dev->ch[CH].IsOn = 0xff;
	NameCH[Name].dev->ch[CH].On_off = 0xff;
	NameCH[Name].dev->ch[CH].PWM = 0xffffffff;
	NameCH[Name].dev->ch[CH].PWM_out = 0xffffffff;

	NameCH[Name].dev = NULL;
	NameCH[Name].Channel_number = 0xff;
	//mem_spi.Write(settings);

	return ret;
}

void setRange_i2c_dev(uint8_t startAddres, uint8_t quantity) {
	// Clear all
	cleanAll_i2c_dev();

	uint8_t name_num = 0;
	for (int var = 0; var < quantity; ++var) {
		for (int ch = 0; ch < 3; ++ch) {
			set_i2c_dev(startAddres + var, ch, name_num);
			++name_num;
			settings.devices_depth++;
		}
	}
}

void cleanAll_i2c_dev() {
	// Clear all
	for (int var = 0; var <= MAX_CH_NAME; ++var) {
		del_Name_dev(var);
	}
	del_all_dev();
}

void del_all_dev() {
	for (int var = 0; var < MAX_ADR_DEV; ++var) {

		settings.devices[var].Addr = 0xff;
		settings.devices[var].AddrFromDev = 0xff;
		settings.devices[var].ERR_counter = 0xffffffff;
		settings.devices[var].last_ERR = 0xffffffff;
		settings.devices[var].TypePCB = PCBType::NoInit;

		for (int CH = 0; CH < 3; ++CH) {
			settings.devices[var].ch[CH].Current = 0xffff;
			settings.devices[var].ch[CH].IsOn = 0xff;
			settings.devices[var].ch[CH].On_off = 0xff;
			settings.devices[var].ch[CH].PWM = 0xffffffff;
			settings.devices[var].ch[CH].PWM_out = 0xffffffff;
			settings.devices[var].ch[CH].Name_ch = 0xff;
		}

	}
	settings.devices_depth = 0;
}

void HAL_UARTEx_RxEventCallback(UART_HandleTypeDef *huart, uint16_t Size) {

	if(huart->Instance == settings.bridge_sett.RS485->Instance){
		SizeInModBus = Size;
		HAL_UARTEx_ReceiveToIdle_IT(settings.bridge_sett.RS485, response, 256);// Read data
		osSemaphoreRelease(Resive_USARTHandle);
	}

	if (huart->Instance == DBG_PORT_NAME) {
        // Проверяем, что DMA_TC флаг установлен
        while (__HAL_UART_GET_FLAG(huart, UART_FLAG_TC) != SET) {
            // Ожидаем завершения передачи
        };

        uint16_t Size_Data = Size - Start_index;

        HAL_UART_RxEventTypeTypeDef rxEventType;
        rxEventType = HAL_UARTEx_GetRxEventType(huart);
        switch (rxEventType) {
        case HAL_UART_RXEVENT_IDLE:
            // Копируем данные
            memcpy(&message_rx[indx_message_rx], &UART_debug_rx[Start_index], Size_Data);

            if ((message_rx[indx_message_rx + Size_Data - 1] == '\r') ||
                (message_rx[indx_message_rx + Size_Data - 1] == 0)) {
                message_rx[indx_message_rx + Size_Data] = 0;

                // Отправляем сообщение в очередь с таймаутом 0
                osStatus status = osMessagePut(rxDataUART2Handle, (uint32_t)indx_message_rx, 0);
                if (status != osOK) {
                    // Если очередь заполнена, очищаем ее
                    osEvent evt;
                    do {
                        evt = osMessageGet(rxDataUART2Handle, 0);
                    } while(evt.status == osEventMessage);

                    // Пытаемся отправить снова
                    status = osMessagePut(rxDataUART2Handle, (uint32_t)indx_message_rx, 0);
                }

                Size_message = 0;
                indx_message_rx = 0;
            } else {
                indx_message_rx += Size_Data;
            }

            Start_index = Size;
            break;

        case HAL_UART_RXEVENT_TC:
            // Копируем в начало буфера
            memcpy(&message_rx[indx_message_rx], &UART_debug_rx[Start_index], Size_Data);
            indx_message_rx += Size_Data;
            Start_index = 0;
            break;

        default:
            STM_LOG("Неизвестный тип события UART: %d", rxEventType);
            break;
        }

        // Перезапускаем DMA для приема
        HAL_UARTEx_ReceiveToIdle_DMA(huart, UART_debug_rx, UART6_RX_LENGTH);
        __HAL_DMA_DISABLE_IT(&hdma_usart6_rx, DMA_IT_HT);
    }
}

void HAL_UART_RxCpltCallback(UART_HandleTypeDef *huart)
{

	if(huart->Instance == USART1){
		HAL_UART_DMAStop(huart);
		rx_end = 1;
	}
	if(huart->Instance == settings.bridge_sett.RS485->Instance){

	}

}

// Обработчик прерывания DMA UART
void HAL_UART_TxCpltCallback(UART_HandleTypeDef *huart) {
    if (huart == logger.huart) {
        Logger_TxCpltCallback();
    }

	if(huart->Instance == USART1){

	}

	if(huart->Instance == settings.bridge_sett.RS485->Instance){

	}
}
/* USER CODE END 4 */

void HAL_TIM_PeriodElapsedCallback(TIM_HandleTypeDef *htim)
{
  if (htim->Instance == TIM7) {
    HAL_IncTick();
  }
}

void Error_Handler(void)
{
  /* USER CODE BEGIN Error_Handler_Debug */
	/* User can add his own implementation to report the HAL error return state */
	STM_LOG("Error handler");
	__disable_irq();
	while (1) {
	}
  /* USER CODE END Error_Handler_Debug */
}
